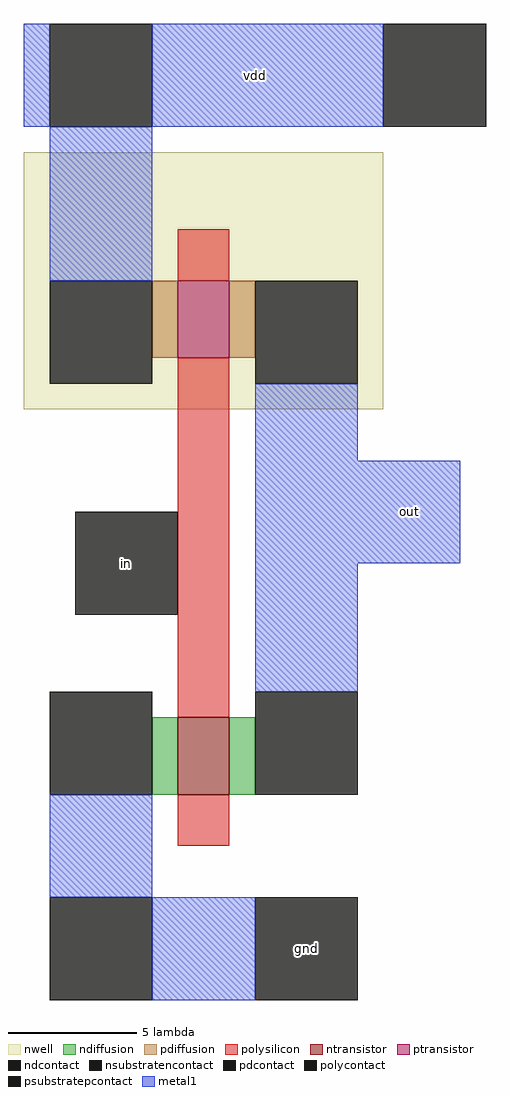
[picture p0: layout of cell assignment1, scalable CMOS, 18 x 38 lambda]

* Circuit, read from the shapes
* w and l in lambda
.subckt assignment1 gnd in out vdd
M1 out in gnd gnd nfet w=3 l=2
M2 out in vdd n1 pfet w=3 l=2
.ends

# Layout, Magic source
magic
tech scmos
<< nwell >>
rect -11 11 3 21
<< polysilicon >>
rect -5 16 -3 18
rect -5 -1 -3 13
rect -5 -6 -3 -4
<< ndiffusion >>
rect -6 -4 -5 -1
rect -3 -4 -2 -1
<< pdiffusion >>
rect -6 13 -5 16
rect -3 13 -2 16
<< metal1 >>
rect -11 22 -10 26
rect -6 22 3 26
rect -10 16 -6 22
rect -2 9 2 12
rect -2 5 6 9
rect -2 0 2 5
rect -10 -8 -6 -4
rect -6 -12 -2 -8
<< ntransistor >>
rect -5 -4 -3 -1
<< ptransistor >>
rect -5 13 -3 16
<< polycontact >>
rect -9 3 -5 7
<< ndcontact >>
rect -10 -4 -6 0
rect -2 -4 2 0
<< pdcontact >>
rect -10 12 -6 16
rect -2 12 2 16
<< psubstratepcontact >>
rect -10 -12 -6 -8
rect -2 -12 2 -8
<< nsubstratencontact >>
rect -10 22 -6 26
rect 3 22 7 26
<< labels >>
rlabel polycontact -9 3 -5 7 0 in
rlabel metal1 2 5 6 9 0 out
rlabel psubstratepcontact -2 -12 2 -8 0 gnd
rlabel metal1 -11 22 7 26 0 vdd
<< end >>
